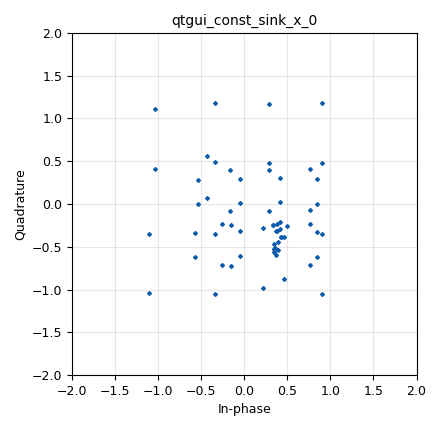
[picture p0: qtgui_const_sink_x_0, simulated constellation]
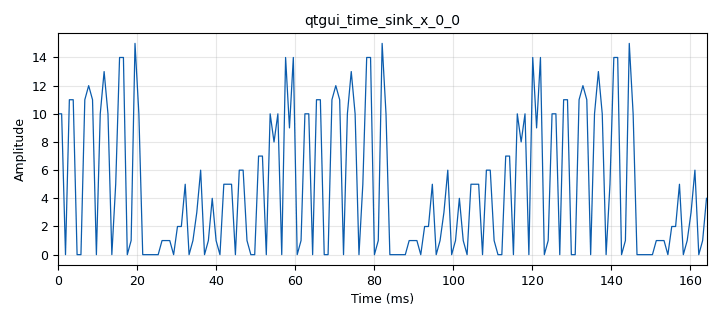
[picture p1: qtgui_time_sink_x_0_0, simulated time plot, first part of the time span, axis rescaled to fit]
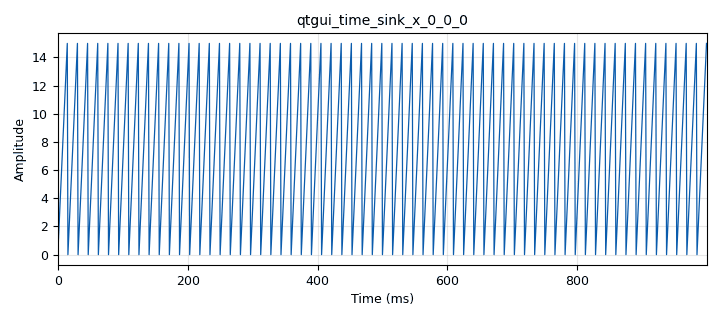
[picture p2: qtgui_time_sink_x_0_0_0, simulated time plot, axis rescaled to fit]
options:
  parameters:
    author: mike
    generate_options: qt_gui
    id: untitled
    output_language: python
    title: Not titled yet
  states: {}

blocks:
- name: qam
  id: variable_constellation
  parameters:
    precision: '8'
    type: 16qam
  states: {}
- name: samp_rate
  id: variable
  parameters:
    value: '1024'
  states: {}
- name: blocks_char_to_float_0
  id: blocks_char_to_float
  parameters:
    scale: '1'
  states: {}
- name: blocks_char_to_float_0_0
  id: blocks_char_to_float
  parameters:
    scale: '1'
  states: {}
- name: blocks_vector_source_x_0
  id: blocks_vector_source_x
  parameters:
    repeat: 'True'
    type: byte
    vector: (0,1, 2, 3,4,5,6,7,8,9,10,11,12,13,14,15)
  states: {}
- name: digital_constellation_decoder_cb_0
  id: digital_constellation_decoder_cb
  parameters:
    constellation: qam
  states: {}
- name: digital_constellation_modulator_0
  id: digital_constellation_modulator
  parameters:
    constellation: qam
    differential: 'False'
    excess_bw: '0.35'
    samples_per_symbol: '2'
  states: {}
- name: qtgui_const_sink_x_0
  id: qtgui_const_sink_x
  parameters:
    size: '1024'
    type: complex
  states: {}
- name: qtgui_time_sink_x_0_0
  id: qtgui_time_sink_x
  parameters:
    size: '1024'
    srate: samp_rate
    type: float
  states: {}
- name: qtgui_time_sink_x_0_0_0
  id: qtgui_time_sink_x
  parameters:
    size: '1024'
    srate: samp_rate
    type: float
  states: {}
- name: virtual_sink_0
  id: virtual_sink
  parameters:
    stream_id: tx_out
  states: {}
- name: virtual_source_0
  id: virtual_source
  parameters:
    stream_id: tx_out
  states: {}

connections:
- [blocks_char_to_float_0, '0', qtgui_time_sink_x_0_0, '0']
- [blocks_char_to_float_0_0, '0', qtgui_time_sink_x_0_0_0, '0']
- [blocks_vector_source_x_0, '0', blocks_char_to_float_0_0, '0']
- [blocks_vector_source_x_0, '0', digital_constellation_modulator_0, '0']
- [digital_constellation_decoder_cb_0, '0', blocks_char_to_float_0, '0']
- [digital_constellation_modulator_0, '0', qtgui_const_sink_x_0, '0']
- [digital_constellation_modulator_0, '0', virtual_sink_0, '0']
- [virtual_source_0, '0', digital_constellation_decoder_cb_0, '0']

metadata:
  file_format: 1
